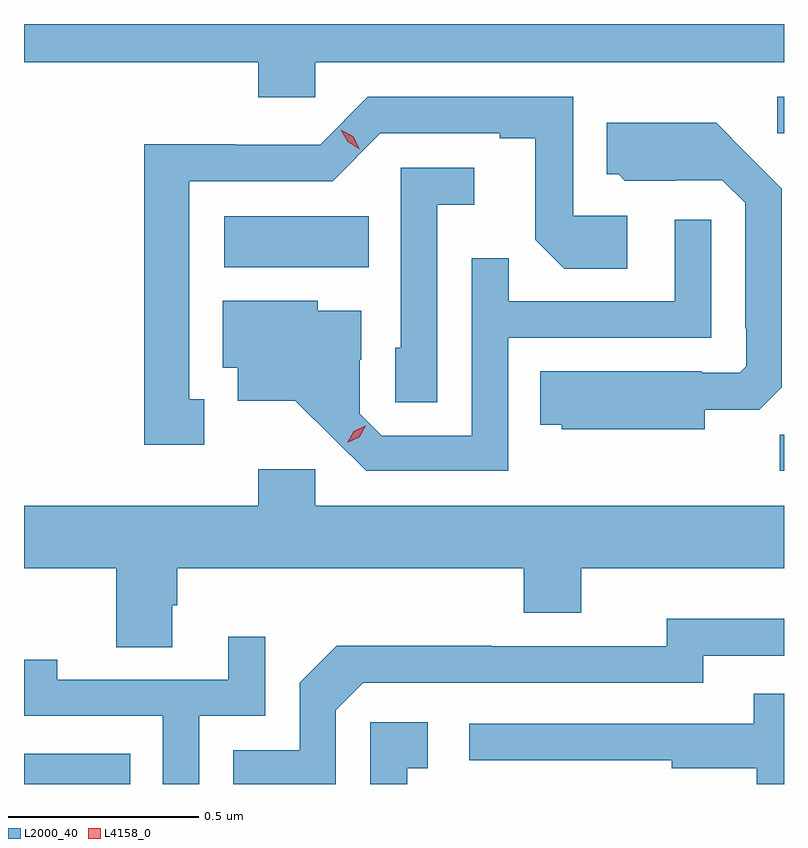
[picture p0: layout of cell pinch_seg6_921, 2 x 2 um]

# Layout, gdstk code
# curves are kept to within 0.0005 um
import gdstk
lib = gdstk.Library(unit=1e-6, precision=1e-09)
def R(c, l, rs):  # rectangles x0, y0, x1, y1
    for r in rs: c.add(gdstk.rectangle(r[:2], r[2:], *l))
def P(c, l, *ps):  # polygons
    for p in ps: c.add(gdstk.Polygon(p, *l))
L2000_40 = (2000, 40)
L4158_0 = (4158, 0)

pinch_seg6_921 = lib.new_cell('pinch_seg6_921')
R(pinch_seg6_921, L2000_40, [(161.047,918.796,161.327,918.876), (163.036,919.62,163.047,919.715), (161.574,920.156,161.954,920.29), (163.029,920.508,163.047,920.604)])
P(pinch_seg6_921, L2000_40, [(161.814,920.696),(163.047,920.696),(163.047,920.796),(161.047,920.796),(161.047,920.696),(161.663,920.696),(161.663,920.603),(161.814,920.603)],
  [(161.521,919.809),(161.482,919.809),(161.482,920.382),(161.859,920.382),(161.985,920.508),(162.299,920.508),(162.299,920.496),(162.393,920.496),(162.393,920.228),(162.469,920.152),(162.634,920.152),(162.634,920.292),(162.492,920.292),(162.492,920.604),(161.952,920.604),(161.826,920.478),(161.604,920.478),(161.604,920.48),(161.364,920.48),(161.364,919.689),(161.521,919.689)],
  [(162.838,919.781),(162.982,919.781),(163.041,919.84),(163.041,920.362),(162.869,920.536),(162.581,920.536),(162.581,920.4),(162.612,920.4),(162.628,920.384),(162.762,920.384),(162.762,920.385),(162.885,920.385),(162.945,920.325),(162.945,919.996),(162.948,919.996),(162.948,919.896),(162.93,919.878),(162.83,919.878),(162.83,919.882),(162.406,919.882),(162.406,919.742),(162.462,919.742),(162.462,919.73),(162.838,919.73)],
  [(162.135,920.321),(162.232,920.321),(162.232,920.418),(162.039,920.418),(162.039,919.944),(162.024,919.944),(162.024,919.801),(162.135,919.801)],
  [(162.321,919.971),(162.855,919.971),(162.855,920.281),(162.759,920.281),(162.759,920.067),(162.323,920.067),(162.323,920.18),(162.225,920.18),(162.225,919.713),(161.988,919.713),(161.931,919.77),(161.931,919.912),(161.935,919.912),(161.935,920.041),(161.82,920.041),(161.82,920.068),(161.57,920.068),(161.57,919.892),(161.609,919.892),(161.609,919.805),(161.761,919.805),(161.948,919.62),(162.321,919.62)],
  [(161.437,919.266),(161.45,919.266),(161.45,919.364),(162.362,919.364),(162.362,919.247),(162.514,919.247),(162.514,919.364),(163.047,919.364),(163.047,919.528),(161.814,919.528),(161.814,919.624),(161.663,919.624),(161.663,919.528),(161.047,919.528),(161.047,919.364),(161.29,919.364),(161.29,919.156),(161.437,919.156)],
  [(161.868,918.99),(161.94,919.062),(162.834,919.062),(162.834,919.134),(163.047,919.134),(163.047,919.231),(162.738,919.231),(162.738,919.158),(162.278,919.158),(162.278,919.16),(161.87,919.16),(161.772,919.062),(161.772,918.885),(161.598,918.885),(161.598,918.796),(161.868,918.796)],
  [(161.508,918.975),(161.682,918.975),(161.682,919.183),(161.585,919.183),(161.585,919.071),(161.134,919.071),(161.134,919.123),(161.047,919.123),(161.047,918.975),(161.412,918.975),(161.412,918.796),(161.508,918.796)],
  [(163.047,919.033),(162.967,919.033),(162.967,918.954),(162.219,918.954),(162.219,918.858),(162.751,918.858),(162.751,918.838),(162.975,918.838),(162.975,918.796),(163.047,918.796)],
  [(162.056,918.837),(162.109,918.837),(162.109,918.958),(161.958,918.958),(161.958,918.796),(162.056,918.796)])
P(pinch_seg6_921, L4158_0, [(161.898,919.694),(161.898,919.694),(161.915,919.724),(161.945,919.739),(161.946,919.739),(161.946,919.739),(161.929,919.709),(161.898,919.694)],
  [(161.931,920.467),(161.899,920.486),(161.881,920.518),(161.881,920.518),(161.881,920.518),(161.913,920.5),(161.931,920.467),(161.931,920.467)])

lib.write_gds('pinch_seg6_921.gds')
